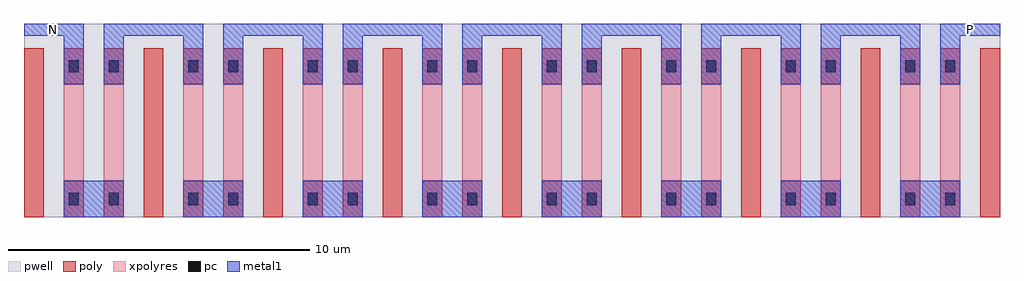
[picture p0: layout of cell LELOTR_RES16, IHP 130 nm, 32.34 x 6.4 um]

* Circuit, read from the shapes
.subckt LELOTR_RES16 N P
XR1 N n1 xpolyres w=0.66u l=3.2u
XR2 n2 n1 xpolyres w=0.66u l=3.2u
XR3 n2 n3 xpolyres w=0.66u l=3.2u
XR4 n4 n3 xpolyres w=0.66u l=3.2u
XR5 n4 n5 xpolyres w=0.66u l=3.2u
XR6 n6 n5 xpolyres w=0.66u l=3.2u
XR7 n6 n7 xpolyres w=0.66u l=3.2u
XR8 n8 n7 xpolyres w=0.66u l=3.2u
XR9 n8 n9 xpolyres w=0.66u l=3.2u
XR10 n10 n9 xpolyres w=0.66u l=3.2u
XR11 n10 n11 xpolyres w=0.66u l=3.2u
XR12 n12 n11 xpolyres w=0.66u l=3.2u
XR13 n12 n13 xpolyres w=0.66u l=3.2u
XR14 n14 n13 xpolyres w=0.66u l=3.2u
XR15 n14 n15 xpolyres w=0.66u l=3.2u
XR16 P n15 xpolyres w=0.66u l=3.2u
.ends

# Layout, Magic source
magic
tech ihp-sg13g2
magscale 1 2
<< poly >>
rect 198 -40 330 40
rect 462 -40 594 40
rect 990 -40 1122 40
rect 1254 -40 1386 40
rect 1782 -40 1914 40
rect 2046 -40 2178 40
rect 2574 -40 2706 40
rect 2838 -40 2970 40
rect 3366 -40 3498 40
rect 3630 -40 3762 40
rect 4158 -40 4290 40
rect 4422 -40 4554 40
rect 4950 -40 5082 40
rect 5214 -40 5346 40
rect 5742 -40 5874 40
rect 6006 -40 6138 40
rect 198 40 330 120
rect 462 40 594 120
rect 990 40 1122 120
rect 1254 40 1386 120
rect 1782 40 1914 120
rect 2046 40 2178 120
rect 2574 40 2706 120
rect 2838 40 2970 120
rect 3366 40 3498 120
rect 3630 40 3762 120
rect 4158 40 4290 120
rect 4422 40 4554 120
rect 4950 40 5082 120
rect 5214 40 5346 120
rect 5742 40 5874 120
rect 6006 40 6138 120
rect 198 120 330 200
rect 462 120 594 200
rect 990 120 1122 200
rect 1254 120 1386 200
rect 1782 120 1914 200
rect 2046 120 2178 200
rect 2574 120 2706 200
rect 2838 120 2970 200
rect 3366 120 3498 200
rect 3630 120 3762 200
rect 4158 120 4290 200
rect 4422 120 4554 200
rect 4950 120 5082 200
rect 5214 120 5346 200
rect 5742 120 5874 200
rect 6006 120 6138 200
rect 198 840 330 920
rect 462 840 594 920
rect 990 840 1122 920
rect 1254 840 1386 920
rect 1782 840 1914 920
rect 2046 840 2178 920
rect 2574 840 2706 920
rect 2838 840 2970 920
rect 3366 840 3498 920
rect 3630 840 3762 920
rect 4158 840 4290 920
rect 4422 840 4554 920
rect 4950 840 5082 920
rect 5214 840 5346 920
rect 5742 840 5874 920
rect 6006 840 6138 920
rect 198 920 330 1000
rect 462 920 594 1000
rect 990 920 1122 1000
rect 1254 920 1386 1000
rect 1782 920 1914 1000
rect 2046 920 2178 1000
rect 2574 920 2706 1000
rect 2838 920 2970 1000
rect 3366 920 3498 1000
rect 3630 920 3762 1000
rect 4158 920 4290 1000
rect 4422 920 4554 1000
rect 4950 920 5082 1000
rect 5214 920 5346 1000
rect 5742 920 5874 1000
rect 6006 920 6138 1000
rect 198 1000 330 1080
rect 462 1000 594 1080
rect 990 1000 1122 1080
rect 1254 1000 1386 1080
rect 1782 1000 1914 1080
rect 2046 1000 2178 1080
rect 2574 1000 2706 1080
rect 2838 1000 2970 1080
rect 3366 1000 3498 1080
rect 3630 1000 3762 1080
rect 4158 1000 4290 1080
rect 4422 1000 4554 1080
rect 4950 1000 5082 1080
rect 5214 1000 5346 1080
rect 5742 1000 5874 1080
rect 6006 1000 6138 1080
rect -66 -40 66 40
rect 726 -40 858 40
rect 1518 -40 1650 40
rect 2310 -40 2442 40
rect 3102 -40 3234 40
rect 3894 -40 4026 40
rect 4686 -40 4818 40
rect 5478 -40 5610 40
rect 6270 -40 6402 40
rect -66 40 66 120
rect 726 40 858 120
rect 1518 40 1650 120
rect 2310 40 2442 120
rect 3102 40 3234 120
rect 3894 40 4026 120
rect 4686 40 4818 120
rect 5478 40 5610 120
rect 6270 40 6402 120
rect -66 120 66 200
rect 726 120 858 200
rect 1518 120 1650 200
rect 2310 120 2442 200
rect 3102 120 3234 200
rect 3894 120 4026 200
rect 4686 120 4818 200
rect 5478 120 5610 200
rect 6270 120 6402 200
rect -66 200 66 280
rect 726 200 858 280
rect 1518 200 1650 280
rect 2310 200 2442 280
rect 3102 200 3234 280
rect 3894 200 4026 280
rect 4686 200 4818 280
rect 5478 200 5610 280
rect 6270 200 6402 280
rect -66 280 66 360
rect 726 280 858 360
rect 1518 280 1650 360
rect 2310 280 2442 360
rect 3102 280 3234 360
rect 3894 280 4026 360
rect 4686 280 4818 360
rect 5478 280 5610 360
rect 6270 280 6402 360
rect -66 360 66 440
rect 726 360 858 440
rect 1518 360 1650 440
rect 2310 360 2442 440
rect 3102 360 3234 440
rect 3894 360 4026 440
rect 4686 360 4818 440
rect 5478 360 5610 440
rect 6270 360 6402 440
rect -66 440 66 520
rect 726 440 858 520
rect 1518 440 1650 520
rect 2310 440 2442 520
rect 3102 440 3234 520
rect 3894 440 4026 520
rect 4686 440 4818 520
rect 5478 440 5610 520
rect 6270 440 6402 520
rect -66 520 66 600
rect 726 520 858 600
rect 1518 520 1650 600
rect 2310 520 2442 600
rect 3102 520 3234 600
rect 3894 520 4026 600
rect 4686 520 4818 600
rect 5478 520 5610 600
rect 6270 520 6402 600
rect -66 600 66 680
rect 726 600 858 680
rect 1518 600 1650 680
rect 2310 600 2442 680
rect 3102 600 3234 680
rect 3894 600 4026 680
rect 4686 600 4818 680
rect 5478 600 5610 680
rect 6270 600 6402 680
rect -66 680 66 760
rect 726 680 858 760
rect 1518 680 1650 760
rect 2310 680 2442 760
rect 3102 680 3234 760
rect 3894 680 4026 760
rect 4686 680 4818 760
rect 5478 680 5610 760
rect 6270 680 6402 760
rect -66 760 66 840
rect 726 760 858 840
rect 1518 760 1650 840
rect 2310 760 2442 840
rect 3102 760 3234 840
rect 3894 760 4026 840
rect 4686 760 4818 840
rect 5478 760 5610 840
rect 6270 760 6402 840
rect -66 840 66 920
rect 726 840 858 920
rect 1518 840 1650 920
rect 2310 840 2442 920
rect 3102 840 3234 920
rect 3894 840 4026 920
rect 4686 840 4818 920
rect 5478 840 5610 920
rect 6270 840 6402 920
rect -66 920 66 1000
rect 726 920 858 1000
rect 1518 920 1650 1000
rect 2310 920 2442 1000
rect 3102 920 3234 1000
rect 3894 920 4026 1000
rect 4686 920 4818 1000
rect 5478 920 5610 1000
rect 6270 920 6402 1000
rect -66 1000 66 1080
rect 726 1000 858 1080
rect 1518 1000 1650 1080
rect 2310 1000 2442 1080
rect 3102 1000 3234 1080
rect 3894 1000 4026 1080
rect 4686 1000 4818 1080
rect 5478 1000 5610 1080
rect 6270 1000 6402 1080
<< xpolyres >>
rect 198 200 330 280
rect 462 200 594 280
rect 990 200 1122 280
rect 1254 200 1386 280
rect 1782 200 1914 280
rect 2046 200 2178 280
rect 2574 200 2706 280
rect 2838 200 2970 280
rect 3366 200 3498 280
rect 3630 200 3762 280
rect 4158 200 4290 280
rect 4422 200 4554 280
rect 4950 200 5082 280
rect 5214 200 5346 280
rect 5742 200 5874 280
rect 6006 200 6138 280
rect 198 280 330 360
rect 462 280 594 360
rect 990 280 1122 360
rect 1254 280 1386 360
rect 1782 280 1914 360
rect 2046 280 2178 360
rect 2574 280 2706 360
rect 2838 280 2970 360
rect 3366 280 3498 360
rect 3630 280 3762 360
rect 4158 280 4290 360
rect 4422 280 4554 360
rect 4950 280 5082 360
rect 5214 280 5346 360
rect 5742 280 5874 360
rect 6006 280 6138 360
rect 198 360 330 440
rect 462 360 594 440
rect 990 360 1122 440
rect 1254 360 1386 440
rect 1782 360 1914 440
rect 2046 360 2178 440
rect 2574 360 2706 440
rect 2838 360 2970 440
rect 3366 360 3498 440
rect 3630 360 3762 440
rect 4158 360 4290 440
rect 4422 360 4554 440
rect 4950 360 5082 440
rect 5214 360 5346 440
rect 5742 360 5874 440
rect 6006 360 6138 440
rect 198 440 330 520
rect 462 440 594 520
rect 990 440 1122 520
rect 1254 440 1386 520
rect 1782 440 1914 520
rect 2046 440 2178 520
rect 2574 440 2706 520
rect 2838 440 2970 520
rect 3366 440 3498 520
rect 3630 440 3762 520
rect 4158 440 4290 520
rect 4422 440 4554 520
rect 4950 440 5082 520
rect 5214 440 5346 520
rect 5742 440 5874 520
rect 6006 440 6138 520
rect 198 520 330 600
rect 462 520 594 600
rect 990 520 1122 600
rect 1254 520 1386 600
rect 1782 520 1914 600
rect 2046 520 2178 600
rect 2574 520 2706 600
rect 2838 520 2970 600
rect 3366 520 3498 600
rect 3630 520 3762 600
rect 4158 520 4290 600
rect 4422 520 4554 600
rect 4950 520 5082 600
rect 5214 520 5346 600
rect 5742 520 5874 600
rect 6006 520 6138 600
rect 198 600 330 680
rect 462 600 594 680
rect 990 600 1122 680
rect 1254 600 1386 680
rect 1782 600 1914 680
rect 2046 600 2178 680
rect 2574 600 2706 680
rect 2838 600 2970 680
rect 3366 600 3498 680
rect 3630 600 3762 680
rect 4158 600 4290 680
rect 4422 600 4554 680
rect 4950 600 5082 680
rect 5214 600 5346 680
rect 5742 600 5874 680
rect 6006 600 6138 680
rect 198 680 330 760
rect 462 680 594 760
rect 990 680 1122 760
rect 1254 680 1386 760
rect 1782 680 1914 760
rect 2046 680 2178 760
rect 2574 680 2706 760
rect 2838 680 2970 760
rect 3366 680 3498 760
rect 3630 680 3762 760
rect 4158 680 4290 760
rect 4422 680 4554 760
rect 4950 680 5082 760
rect 5214 680 5346 760
rect 5742 680 5874 760
rect 6006 680 6138 760
rect 198 760 330 840
rect 462 760 594 840
rect 990 760 1122 840
rect 1254 760 1386 840
rect 1782 760 1914 840
rect 2046 760 2178 840
rect 2574 760 2706 840
rect 2838 760 2970 840
rect 3366 760 3498 840
rect 3630 760 3762 840
rect 4158 760 4290 840
rect 4422 760 4554 840
rect 4950 760 5082 840
rect 5214 760 5346 840
rect 5742 760 5874 840
rect 6006 760 6138 840
<< pc >>
rect 231 40 297 80
rect 231 80 297 120
rect 495 40 561 80
rect 495 80 561 120
rect 1023 40 1089 80
rect 1023 80 1089 120
rect 1287 40 1353 80
rect 1287 80 1353 120
rect 1815 40 1881 80
rect 1815 80 1881 120
rect 2079 40 2145 80
rect 2079 80 2145 120
rect 2607 40 2673 80
rect 2607 80 2673 120
rect 2871 40 2937 80
rect 2871 80 2937 120
rect 3399 40 3465 80
rect 3399 80 3465 120
rect 3663 40 3729 80
rect 3663 80 3729 120
rect 4191 40 4257 80
rect 4191 80 4257 120
rect 4455 40 4521 80
rect 4455 80 4521 120
rect 4983 40 5049 80
rect 4983 80 5049 120
rect 5247 40 5313 80
rect 5247 80 5313 120
rect 5775 40 5841 80
rect 5775 80 5841 120
rect 6039 40 6105 80
rect 6039 80 6105 120
rect 231 920 297 960
rect 231 960 297 1000
rect 495 920 561 960
rect 495 960 561 1000
rect 1023 920 1089 960
rect 1023 960 1089 1000
rect 1287 920 1353 960
rect 1287 960 1353 1000
rect 1815 920 1881 960
rect 1815 960 1881 1000
rect 2079 920 2145 960
rect 2079 960 2145 1000
rect 2607 920 2673 960
rect 2607 960 2673 1000
rect 2871 920 2937 960
rect 2871 960 2937 1000
rect 3399 920 3465 960
rect 3399 960 3465 1000
rect 3663 920 3729 960
rect 3663 960 3729 1000
rect 4191 920 4257 960
rect 4191 960 4257 1000
rect 4455 920 4521 960
rect 4455 960 4521 1000
rect 4983 920 5049 960
rect 4983 960 5049 1000
rect 5247 920 5313 960
rect 5247 960 5313 1000
rect 5775 920 5841 960
rect 5775 960 5841 1000
rect 6039 920 6105 960
rect 6039 960 6105 1000
<< metal1 >>
rect 198 -40 594 40
rect 990 -40 1386 40
rect 1782 -40 2178 40
rect 2574 -40 2970 40
rect 3366 -40 3762 40
rect 4158 -40 4554 40
rect 4950 -40 5346 40
rect 5742 -40 6138 40
rect 198 40 594 120
rect 990 40 1386 120
rect 1782 40 2178 120
rect 2574 40 2970 120
rect 3366 40 3762 120
rect 4158 40 4554 120
rect 4950 40 5346 120
rect 5742 40 6138 120
rect 198 120 594 200
rect 990 120 1386 200
rect 1782 120 2178 200
rect 2574 120 2970 200
rect 3366 120 3762 200
rect 4158 120 4554 200
rect 4950 120 5346 200
rect 5742 120 6138 200
rect 198 840 330 920
rect 462 840 594 920
rect 990 840 1122 920
rect 1254 840 1386 920
rect 1782 840 1914 920
rect 2046 840 2178 920
rect 2574 840 2706 920
rect 2838 840 2970 920
rect 3366 840 3498 920
rect 3630 840 3762 920
rect 4158 840 4290 920
rect 4422 840 4554 920
rect 4950 840 5082 920
rect 5214 840 5346 920
rect 5742 840 5874 920
rect 6006 840 6138 920
rect 198 920 330 1000
rect 462 920 594 1000
rect 990 920 1122 1000
rect 1254 920 1386 1000
rect 1782 920 1914 1000
rect 2046 920 2178 1000
rect 2574 920 2706 1000
rect 2838 920 2970 1000
rect 3366 920 3498 1000
rect 3630 920 3762 1000
rect 4158 920 4290 1000
rect 4422 920 4554 1000
rect 4950 920 5082 1000
rect 5214 920 5346 1000
rect 5742 920 5874 1000
rect 6006 920 6138 1000
rect 198 1000 330 1080
rect 462 1000 594 1080
rect 990 1000 1122 1080
rect 1254 1000 1386 1080
rect 1782 1000 1914 1080
rect 2046 1000 2178 1080
rect 2574 1000 2706 1080
rect 2838 1000 2970 1080
rect 3366 1000 3498 1080
rect 3630 1000 3762 1080
rect 4158 1000 4290 1080
rect 4422 1000 4554 1080
rect 4950 1000 5082 1080
rect 5214 1000 5346 1080
rect 5742 1000 5874 1080
rect 6006 1000 6138 1080
rect 198 1080 330 1160
rect 462 1080 594 1160
rect 990 1080 1122 1160
rect 1254 1080 1386 1160
rect 1782 1080 1914 1160
rect 2046 1080 2178 1160
rect 2574 1080 2706 1160
rect 2838 1080 2970 1160
rect 3366 1080 3498 1160
rect 3630 1080 3762 1160
rect 4158 1080 4290 1160
rect 4422 1080 4554 1160
rect 4950 1080 5082 1160
rect 5214 1080 5346 1160
rect 5742 1080 5874 1160
rect 6006 1080 6138 1160
rect -66 1160 330 1240
rect -66 1160 330 1240
rect 462 1160 1122 1240
rect 6006 1160 6402 1240
rect 1254 1160 1914 1240
rect 2046 1160 2706 1240
rect 2838 1160 3498 1240
rect 3630 1160 4290 1240
rect 4422 1160 5082 1240
rect 5214 1160 5874 1240
rect 6006 1160 6402 1240
<< pwell >>
rect -66 -40 6402 1240
<< labels >>
flabel metal1 s -66 1160 330 1240 0 FreeSans 400 0 0 0 N
port 1 nsew signal bidirectional
flabel metal1 s 6006 1160 6402 1240 0 FreeSans 400 0 0 0 P
port 2 nsew signal bidirectional
<< properties >>
string FIXED_BBOX 0 0 6336 1200
<< end >>
